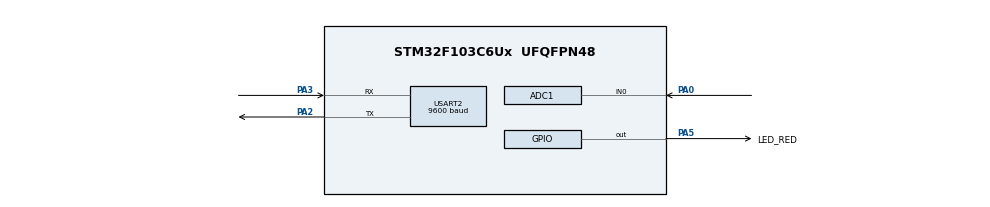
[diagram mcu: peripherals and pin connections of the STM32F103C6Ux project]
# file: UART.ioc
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ADC1.Channel-1\#ChannelRegularConversion=ADC_CHANNEL_0
ADC1.ContinuousConvMode=ENABLE
ADC1.NbrOfConversionFlag=1
ADC1.Rank-1\#ChannelRegularConversion=1
ADC1.SamplingTime-1\#ChannelRegularConversion=ADC_SAMPLETIME_1CYCLE_5
ADC1.master=1
Mcu.Family=STM32F1
Mcu.Name=STM32F103C6Ux
Mcu.Package=UFQFPN48
NVIC.PriorityGroup=NVIC_PRIORITYGROUP_4
NVIC.TIM2_IRQn=true\:0\:0\:false\:false\:true\:true\:true
NVIC.USART2_IRQn=true\:0\:0\:false\:false\:true\:true\:true
PA0-WKUP.Signal=ADCx_IN0
PA2.Mode=Asynchronous
PA2.Signal=USART2_TX
PA3.Mode=Asynchronous
PA3.Signal=USART2_RX
PA5.GPIO_Label=LED_RED
PA5.Signal=GPIO_Output
ProjectManager.HeapSize=0x200
ProjectManager.StackSize=0x400
ProjectManager.TargetToolchain=STM32CubeIDE
RCC.APB1Freq_Value=8000000
RCC.APB2Freq_Value=8000000
SH.ADCx_IN0.0=ADC1_IN0,IN0
TIM2.Period=9
TIM2.Prescaler=7999
USART2.BaudRate=9600
USART2.VirtualMode=VM_ASYNC
VP_SYS_VS_ND.Mode=No_Debug
VP_TIM2_VS_ClockSourceINT.Mode=Internal
board=custom

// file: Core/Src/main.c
/* USER CODE BEGIN Header */
/**
  ******************************************************************************
  * @file           : main.c
  * @brief          : Main program body
  ******************************************************************************
  * @attention
  *
  * <h2><center>&copy; Copyright (c) 2023 STMicroelectronics.
  * All rights reserved.</center></h2>
  *
  * This software component is licensed by ST under BSD 3-Clause license,
  * the "License"; You may not use this file except in compliance with the
  * License. You may obtain a copy of the License at:
  *                        opensource.org/licenses/BSD-3-Clause
  *
  ******************************************************************************
  */
/* USER CODE END Header */
#include "main.h"
#include "fsm.h"

ADC_HandleTypeDef hadc1;

TIM_HandleTypeDef htim2;

UART_HandleTypeDef huart2;

void SystemClock_Config(void);
static void MX_GPIO_Init(void);
static void MX_ADC1_Init(void);
static void MX_USART2_UART_Init(void);
static void MX_TIM2_Init(void);

/* USER CODE BEGIN 0 */
uint8_t temp = 0;
uint8_t index_buffer = 0;
uint8_t buffer_flag = 0;
void HAL_UART_RxCpltCallback( UART_HandleTypeDef *huart ){
	if( huart->Instance == USART2 ) {
//		HAL_UART_Transmit(&huart2 ,&temp , 1, 50);
		buffer[index_buffer++] = temp;
		if( index_buffer == 30) index_buffer = 0;
		buffer_flag = 1;
		HAL_UART_Receive_IT(&huart2 ,&temp , 1);
	}
}
/* USER CODE END 0 */

int main(void)
{

  /* MCU Configuration--------------------------------------------------------*/

  /* Reset of all peripherals, Initializes the Flash interface and the Systick. */
  HAL_Init();

  /* Configure the system clock */
  SystemClock_Config();

  /* Initialize all configured peripherals */
  MX_GPIO_Init();
  MX_ADC1_Init();
  MX_USART2_UART_Init();
  MX_TIM2_Init();
  /* USER CODE BEGIN 2 */
  HAL_TIM_Base_Start_IT(&htim2);
  HAL_UART_Receive_IT(&huart2 ,&temp , 1);
  /* USER CODE END 2 */

  /* Infinite loop */
  /* USER CODE BEGIN WHILE */
  setTimer(300, 1);
  setTimer(50, 0);
  HAL_GPIO_WritePin(LED_RED_GPIO_Port, LED_RED_Pin, RESET);
  while (1)
  {
    /* USER CODE END WHILE */
	  if (timer_flag[0] == 1){
		  HAL_GPIO_TogglePin(LED_RED_GPIO_Port, LED_RED_Pin);
		  setTimer(50, 0);
	  }
	  if(buffer_flag == 1){
		  command_parser_fsm();
		  buffer_flag = 0;
	  }
	  uart_fsm();
  }
}

void SystemClock_Config(void)
{
  RCC_OscInitTypeDef RCC_OscInitStruct = {0};
  RCC_ClkInitTypeDef RCC_ClkInitStruct = {0};
  RCC_PeriphCLKInitTypeDef PeriphClkInit = {0};

  /** Initializes the RCC Oscillators according to the specified parameters
  * in the RCC_OscInitTypeDef structure.
  */
  RCC_OscInitStruct.OscillatorType = RCC_OSCILLATORTYPE_HSI;
  RCC_OscInitStruct.HSIState = RCC_HSI_ON;
  RCC_OscInitStruct.HSICalibrationValue = RCC_HSICALIBRATION_DEFAULT;
  RCC_OscInitStruct.PLL.PLLState = RCC_PLL_NONE;
  if (HAL_RCC_OscConfig(&RCC_OscInitStruct) != HAL_OK)
  {
    Error_Handler();
  }
  /** Initializes the CPU, AHB and APB buses clocks
  */
  RCC_ClkInitStruct.ClockType = RCC_CLOCKTYPE_HCLK|RCC_CLOCKTYPE_SYSCLK
                              |RCC_CLOCKTYPE_PCLK1|RCC_CLOCKTYPE_PCLK2;
  RCC_ClkInitStruct.SYSCLKSource = RCC_SYSCLKSOURCE_HSI;
  RCC_ClkInitStruct.AHBCLKDivider = RCC_SYSCLK_DIV1;
  RCC_ClkInitStruct.APB1CLKDivider = RCC_HCLK_DIV1;
  RCC_ClkInitStruct.APB2CLKDivider = RCC_HCLK_DIV1;

  if (HAL_RCC_ClockConfig(&RCC_ClkInitStruct, FLASH_LATENCY_0) != HAL_OK)
  {
    Error_Handler();
  }
  PeriphClkInit.PeriphClockSelection = RCC_PERIPHCLK_ADC;
  PeriphClkInit.AdcClockSelection = RCC_ADCPCLK2_DIV2;
  if (HAL_RCCEx_PeriphCLKConfig(&PeriphClkInit) != HAL_OK)
  {
    Error_Handler();
  }
}

static void MX_ADC1_Init(void)
{

  ADC_ChannelConfTypeDef sConfig = {0};

  /** Common config
  */
  hadc1.Instance = ADC1;
  hadc1.Init.ScanConvMode = ADC_SCAN_DISABLE;
  hadc1.Init.ContinuousConvMode = ENABLE;
  hadc1.Init.DiscontinuousConvMode = DISABLE;
  hadc1.Init.ExternalTrigConv = ADC_SOFTWARE_START;
  hadc1.Init.DataAlign = ADC_DATAALIGN_RIGHT;
  hadc1.Init.NbrOfConversion = 1;
  if (HAL_ADC_Init(&hadc1) != HAL_OK)
  {
    Error_Handler();
  }
  /** Configure Regular Channel
  */
  sConfig.Channel = ADC_CHANNEL_0;
  sConfig.Rank = ADC_REGULAR_RANK_1;
  sConfig.SamplingTime = ADC_SAMPLETIME_1CYCLE_5;
  if (HAL_ADC_ConfigChannel(&hadc1, &sConfig) != HAL_OK)
  {
    Error_Handler();
  }

}

static void MX_TIM2_Init(void)
{

  TIM_ClockConfigTypeDef sClockSourceConfig = {0};
  TIM_MasterConfigTypeDef sMasterConfig = {0};

  htim2.Instance = TIM2;
  htim2.Init.Prescaler = 7999;
  htim2.Init.CounterMode = TIM_COUNTERMODE_UP;
  htim2.Init.Period = 9;
  htim2.Init.ClockDivision = TIM_CLOCKDIVISION_DIV1;
  htim2.Init.AutoReloadPreload = TIM_AUTORELOAD_PRELOAD_DISABLE;
  if (HAL_TIM_Base_Init(&htim2) != HAL_OK)
  {
    Error_Handler();
  }
  sClockSourceConfig.ClockSource = TIM_CLOCKSOURCE_INTERNAL;
  if (HAL_TIM_ConfigClockSource(&htim2, &sClockSourceConfig) != HAL_OK)
  {
    Error_Handler();
  }
  sMasterConfig.MasterOutputTrigger = TIM_TRGO_RESET;
  sMasterConfig.MasterSlaveMode = TIM_MASTERSLAVEMODE_DISABLE;
  if (HAL_TIMEx_MasterConfigSynchronization(&htim2, &sMasterConfig) != HAL_OK)
  {
    Error_Handler();
  }

}

static void MX_USART2_UART_Init(void)
{

  huart2.Instance = USART2;
  huart2.Init.BaudRate = 9600;
  huart2.Init.WordLength = UART_WORDLENGTH_8B;
  huart2.Init.StopBits = UART_STOPBITS_1;
  huart2.Init.Parity = UART_PARITY_NONE;
  huart2.Init.Mode = UART_MODE_TX_RX;
  huart2.Init.HwFlowCtl = UART_HWCONTROL_NONE;
  huart2.Init.OverSampling = UART_OVERSAMPLING_16;
  if (HAL_UART_Init(&huart2) != HAL_OK)
  {
    Error_Handler();
  }

}

static void MX_GPIO_Init(void)
{
  GPIO_InitTypeDef GPIO_InitStruct = {0};

  /* GPIO Ports Clock Enable */
  __HAL_RCC_GPIOA_CLK_ENABLE();

  /*Configure GPIO pin Output Level */
  HAL_GPIO_WritePin(LED_RED_GPIO_Port, LED_RED_Pin, GPIO_PIN_RESET);

  /*Configure GPIO pin : LED_RED_Pin */
  GPIO_InitStruct.Pin = LED_RED_Pin;
  GPIO_InitStruct.Mode = GPIO_MODE_OUTPUT_PP;
  GPIO_InitStruct.Pull = GPIO_NOPULL;
  GPIO_InitStruct.Speed = GPIO_SPEED_FREQ_LOW;
  HAL_GPIO_Init(LED_RED_GPIO_Port, &GPIO_InitStruct);

}

/* USER CODE BEGIN 4 */
void HAL_TIM_PeriodElapsedCallback(TIM_HandleTypeDef *htim){
	timerRun(0); // led
	timerRun(1); // 3s
};
/* USER CODE END 4 */

void Error_Handler(void)
{
  __disable_irq();
  while (1)
  {
  }
}

/************************ (C) COPYRIGHT STMicroelectronics *****END OF FILE****/
